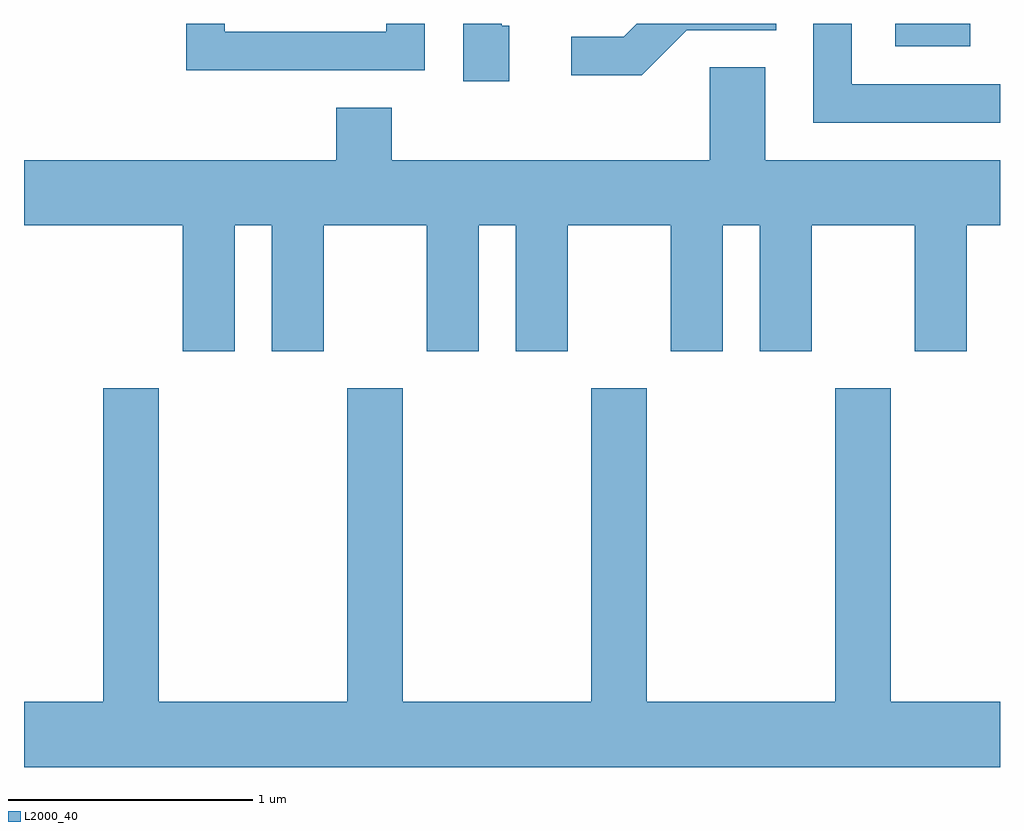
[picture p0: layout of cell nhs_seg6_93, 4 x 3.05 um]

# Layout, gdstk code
import gdstk
lib = gdstk.Library(unit=1e-6, precision=1e-09)
def R(c, l, rs):  # rectangles x0, y0, x1, y1
    for r in rs: c.add(gdstk.rectangle(r[:2], r[2:], *l))
def P(c, l, *ps):  # polygons
    for p in ps: c.add(gdstk.Polygon(p, *l))
L2000_40 = (2000, 40)

nhs_seg6_93 = lib.new_cell('nhs_seg6_93')
R(nhs_seg6_93, L2000_40, [(191.181,1584.071,191.489,1584.162)])
P(nhs_seg6_93, L2000_40, [(190.327,1584.136),(190.694,1584.136),(190.694,1584.162),(190.122,1584.162),(190.069,1584.109),(189.853,1584.109),(189.853,1583.951),(190.142,1583.951)],
  [(189.254,1584.162),(189.096,1584.162),(189.096,1584.129),(188.434,1584.129),(188.434,1584.162),(188.276,1584.162),(188.276,1583.971),(189.254,1583.971)],
  [(191.611,1583.914),(191.004,1583.914),(191.004,1584.162),(190.846,1584.162),(190.846,1583.756),(191.611,1583.756)],
  [(189.599,1584.154),(189.569,1584.154),(189.569,1584.162),(189.411,1584.162),(189.411,1583.926),(189.599,1583.926)],
  [(188.474,1583.336),(188.626,1583.336),(188.626,1582.821),(188.839,1582.821),(188.839,1583.336),(189.261,1583.336),(189.261,1582.821),(189.474,1582.821),(189.474,1583.336),(189.626,1583.336),(189.626,1582.821),(189.839,1582.821),(189.839,1583.336),(190.261,1583.336),(190.261,1582.821),(190.474,1582.821),(190.474,1583.336),(190.626,1583.336),(190.626,1582.821),(190.839,1582.821),(190.839,1583.336),(191.261,1583.336),(191.261,1582.821),(191.474,1582.821),(191.474,1583.336),(191.611,1583.336),(191.611,1583.604),(190.649,1583.604),(190.649,1583.984),(190.421,1583.984),(190.421,1583.604),(189.119,1583.604),(189.119,1583.819),(188.891,1583.819),(188.891,1583.604),(187.611,1583.604),(187.611,1583.336),(188.261,1583.336),(188.261,1582.821),(188.474,1582.821)],
  [(191.611,1581.384),(191.164,1581.384),(191.164,1582.669),(190.936,1582.669),(190.936,1581.384),(190.164,1581.384),(190.164,1582.669),(189.936,1582.669),(189.936,1581.384),(189.164,1581.384),(189.164,1582.669),(188.936,1582.669),(188.936,1581.384),(188.164,1581.384),(188.164,1582.669),(187.936,1582.669),(187.936,1581.384),(187.611,1581.384),(187.611,1581.116),(191.611,1581.116)])

lib.write_gds('nhs_seg6_93.gds')
